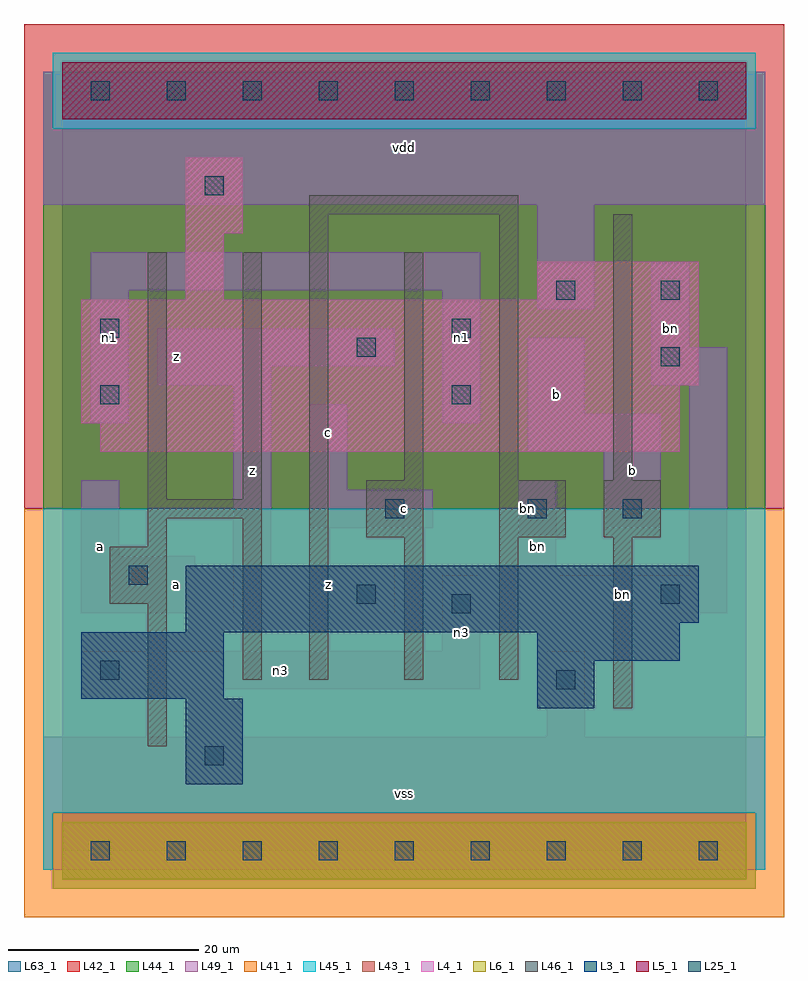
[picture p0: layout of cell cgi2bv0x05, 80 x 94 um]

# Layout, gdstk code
import gdstk
lib = gdstk.Library(unit=1e-6, precision=1e-09)
def R(c, l, rs):  # rectangles x0, y0, x1, y1
    for r in rs: c.add(gdstk.rectangle(r[:2], r[2:], *l))
def A(c, l, x, y, w, h, nx, ny, dx, dy):  # array of equal rectangles
    R(c, l, [(x+i*dx, y+j*dy, x+i*dx+w, y+j*dy+h) for i in range(nx) for j in range(ny)])
L3_1 = (3, 1)
L4_1 = (4, 1)
L5_1 = (5, 1)
L6_1 = (6, 1)
L25_1 = (25, 1)
L41_1 = (41, 1)
L42_1 = (42, 1)
L43_1 = (43, 1)
L44_1 = (44, 1)
L45_1 = (45, 1)
L46_1 = (46, 1)
L49_1 = (49, 1)
L63_1 = (63, 1)

cgi2bv0x05 = lib.new_cell('cgi2bv0x05')
R(cgi2bv0x05, L3_1, [(13,7,19,16), (50,15,56,20), (2,16,17,23), (50,20,65,23), (13,23,65,24), (13,24,67,30)])
R(cgi2bv0x05, L4_1, [(4,42,65,45), (2,45,65,49), (2,49,67,58), (13,58,17,65), (50,58,67,62), (13,65,19,73)])
R(cgi2bv0x05, L5_1, [(0,77,72,83)])
R(cgi2bv0x05, L6_1, [(0,-3,72,3), (0,-3,72,3)])
A(cgi2bv0x05, L25_1, 3, -1, 2, 2, 9, 2, 8, 80)
R(cgi2bv0x05, L25_1, [(15,9,17,11), (52,17,54,19), (4,18,6,20), (41,25,43,27), (31,26,33,28), (63,26,65,28), (7,28,9,30), (34,35,36,37), (49,35,51,37), (59,35,61,37), (4,47,6,49), (41,47,43,49), (63,51,65,53), (31,52,33,54), (4,54,6,56), (41,54,43,56), (52,58,54,60), (63,58,65,60), (15,69,17,71)])
R(cgi2bv0x05, L41_1, [(-4,-7,76,36)])
R(cgi2bv0x05, L42_1, [(-4,36,76,87)])
R(cgi2bv0x05, L43_1, [(0,-3,72,3), (13,7,19,16), (50,15,56,20), (2,16,17,23), (50,20,65,23), (13,23,65,24), (13,24,67,30), (4,42,65,45), (2,45,65,49), (2,49,67,58), (13,58,17,65), (50,58,67,62), (13,65,19,73), (0,77,72,83)])
R(cgi2bv0x05, L44_1, [(-1,-4,73,4), (-2,36,74,76), (-2,76,-1,82), (73,76,74,82)])
R(cgi2bv0x05, L45_1, [(-2,-2,-1,4), (73,-2,74,4), (-2,4,74,36), (-1,76,73,84)])
R(cgi2bv0x05, L46_1, [(9,11,11,26), (58,15,60,33), (19,18,21,35), (26,18,28,67), (36,18,38,33), (46,18,48,33), (5,26,11,32), (9,32,11,35), (32,33,38,39), (46,33,53,39), (57,33,63,39), (9,35,21,37), (9,37,11,63), (19,37,21,63), (36,39,38,63), (46,39,48,67), (58,39,60,67), (26,67,48,69)])
R(cgi2bv0x05, L49_1, [(-2,-2,74,12), (51,12,55,21), (2,17,44,21), (40,21,44,29), (2,25,14,31), (18,25,35,30), (48,25,70,29), (48,29,52,39), (66,29,70,49), (18,30,22,49), (2,31,6,39), (26,34,39,38), (57,34,63,42), (26,38,30,47), (49,42,63,46), (3,45,7,59), (40,45,44,59), (49,46,55,54), (10,49,22,51), (62,49,70,53), (10,51,35,55), (62,53,66,62), (50,57,56,68), (3,59,44,63), (-2,68,74,82)])
R(cgi2bv0x05, L63_1, [(0,0,72,80)])
cgi2bv0x05.add(gdstk.Label('bn', (49,36), layer=49, texttype=1))
cgi2bv0x05.add(gdstk.Label('a', (4,32), layer=49, texttype=1))
cgi2bv0x05.add(gdstk.Label('n1', (5,54), layer=49, texttype=1))
cgi2bv0x05.add(gdstk.Label('a', (12,28), layer=49, texttype=1))
cgi2bv0x05.add(gdstk.Label('z', (20,40), layer=49, texttype=1))
cgi2bv0x05.add(gdstk.Label('z', (12,52), layer=49, texttype=1))
cgi2bv0x05.add(gdstk.Label('vss', (36,6), layer=49, texttype=1))
cgi2bv0x05.add(gdstk.Label('z', (28,28), layer=49, texttype=1))
cgi2bv0x05.add(gdstk.Label('c', (28,44), layer=49, texttype=1))
cgi2bv0x05.add(gdstk.Label('c', (36,36), layer=49, texttype=1))
cgi2bv0x05.add(gdstk.Label('vdd', (36,74), layer=49, texttype=1))
cgi2bv0x05.add(gdstk.Label('n3', (42,23), layer=49, texttype=1))
cgi2bv0x05.add(gdstk.Label('n3', (23,19), layer=49, texttype=1))
cgi2bv0x05.add(gdstk.Label('bn', (50,32), layer=49, texttype=1))
cgi2bv0x05.add(gdstk.Label('b', (52,48), layer=49, texttype=1))
cgi2bv0x05.add(gdstk.Label('n1', (42,54), layer=49, texttype=1))
cgi2bv0x05.add(gdstk.Label('bn', (59,27), layer=49, texttype=1))
cgi2bv0x05.add(gdstk.Label('b', (60,40), layer=49, texttype=1))
cgi2bv0x05.add(gdstk.Label('bn', (64,55), layer=49, texttype=1))

lib.write_gds('cgi2bv0x05.gds')
